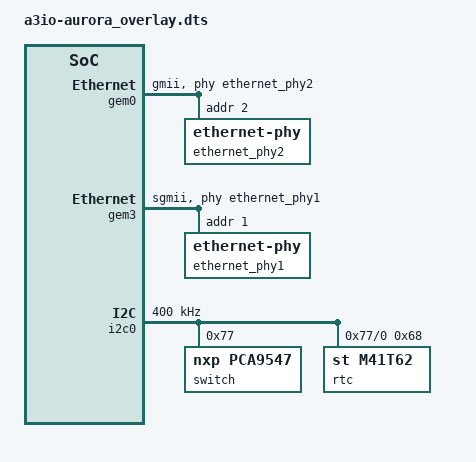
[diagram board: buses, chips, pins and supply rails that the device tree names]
/dts-v1/;
/plugin/;

#include <dt-bindings/input/input.h>
#include <dt-bindings/gpio/gpio.h>
#include <dt-bindings/pinctrl/pinctrl-zynqmp.h>
#include <dt-bindings/phy/phy.h>

&gem0 {
    status = "okay";
    index = <1>; /* Use eth1 */
    phy-handle = <&ethernet_phy2>;
    phy-mode = "gmii";
    ethernet_phy2: ethernet-phy@2 {
        reg = <2>;
    };
};

&gem1 {
    status = "disabled";
};

&gem2 {
    status = "disabled";
};

&gem3 {
    status = "okay";
    index = <0>; /* Use eth0 */
    phy-handle = <&ethernet_phy1>;
    phy-mode = "sgmii";
    is-internal-pcspma = "true";
    ethernet_phy1: ethernet-phy@1 {
        reg = <1>;
    };
};

// disabled zynqmp rtc
&rtc {
    status = "disabled";
};

// enable carrier rtc
&i2c0 {
    status = "okay";
    clock-frequency = <400000>;

    switch@77 {
        compatible = "nxp,pca9547";
        #address-cells = <1>;
        #size-cells = <0>;
        reg = <0x77>;

        i2c@0 {
            #address-cells = <1>;
            #size-cells = <0>;
            reg = <0>;

            rtc@68 {
                compatible = "st,m41t62";
                reg = <0x68>;
            };
        };
    };
};
